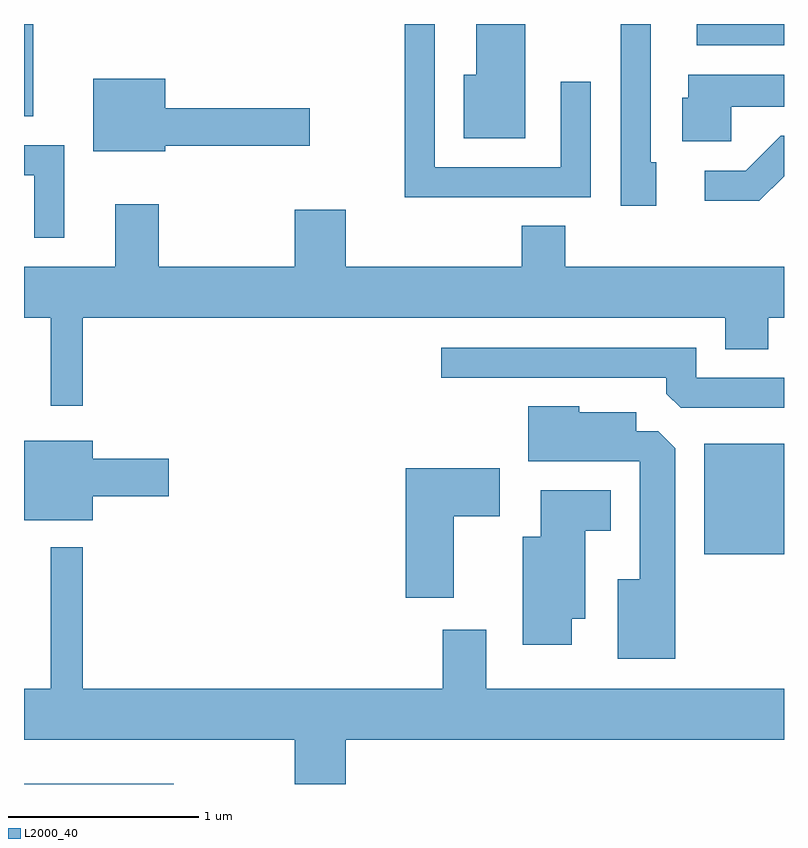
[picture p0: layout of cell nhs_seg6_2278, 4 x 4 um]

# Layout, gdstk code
import gdstk
lib = gdstk.Library(unit=1e-6, precision=1e-09)
def R(c, l, rs):  # rectangles x0, y0, x1, y1
    for r in rs: c.add(gdstk.rectangle(r[:2], r[2:], *l))
def P(c, l, *ps):  # polygons
    for p in ps: c.add(gdstk.Polygon(p, *l))
L2000_40 = (2000, 40)

nhs_seg6_2278 = lib.new_cell('nhs_seg6_2278')
R(nhs_seg6_2278, L2000_40, [(253.611,1634.162,254.398,1634.164), (257.191,1635.371,257.611,1635.954), (253.611,1637.676,253.659,1638.162), (257.153,1638.051,257.611,1638.162)])
P(nhs_seg6_2278, L2000_40, [(256.594,1637.858),(256.436,1637.858),(256.436,1637.409),(255.774,1637.409),(255.774,1638.162),(255.616,1638.162),(255.616,1637.251),(256.594,1637.251)],
  [(256.939,1637.434),(256.909,1637.434),(256.909,1638.162),(256.751,1638.162),(256.751,1637.206),(256.939,1637.206)],
  [(256.249,1638.162),(255.991,1638.162),(255.991,1637.894),(255.926,1637.894),(255.926,1637.561),(256.249,1637.561)],
  [(257.334,1637.726),(257.611,1637.726),(257.611,1637.894),(257.106,1637.894),(257.106,1637.774),(257.076,1637.774),(257.076,1637.546),(257.334,1637.546)],
  [(254.354,1637.521),(255.114,1637.521),(255.114,1637.719),(254.354,1637.719),(254.354,1637.874),(253.976,1637.874),(253.976,1637.491),(254.354,1637.491)],
  [(257.611,1637.361),(257.611,1637.574),(257.594,1637.574),(257.409,1637.389),(257.193,1637.389),(257.193,1637.231),(257.481,1637.231)],
  [(253.824,1637.524),(253.611,1637.524),(253.611,1637.366),(253.666,1637.366),(253.666,1637.038),(253.824,1637.038)],
  [(253.919,1636.616),(257.301,1636.616),(257.301,1636.451),(257.529,1636.451),(257.529,1636.616),(257.611,1636.616),(257.611,1636.884),(256.459,1636.884),(256.459,1637.099),(256.231,1637.099),(256.231,1636.884),(255.304,1636.884),(255.304,1637.184),(255.036,1637.184),(255.036,1636.884),(254.319,1636.884),(254.319,1637.214),(254.091,1637.214),(254.091,1636.884),(253.611,1636.884),(253.611,1636.616),(253.751,1636.616),(253.751,1636.153),(253.919,1636.153)],
  [(257.611,1636.299),(257.149,1636.299),(257.149,1636.459),(255.808,1636.459),(255.808,1636.301),(256.991,1636.301),(256.991,1636.217),(257.067,1636.141),(257.611,1636.141)],
  [(257.039,1635.929),(256.949,1636.019),(256.834,1636.019),(256.834,1636.119),(256.534,1636.119),(256.534,1636.149),(256.266,1636.149),(256.266,1635.861),(256.851,1635.861),(256.851,1635.239),(256.736,1635.239),(256.736,1634.821),(257.039,1634.821)],
  [(253.974,1635.676),(254.374,1635.676),(254.374,1635.874),(253.974,1635.874),(253.974,1635.969),(253.611,1635.969),(253.611,1635.551),(253.974,1635.551)],
  [(255.874,1635.571),(256.114,1635.571),(256.114,1635.824),(255.621,1635.824),(255.621,1635.141),(255.874,1635.141)],
  [(256.494,1635.031),(256.564,1635.031),(256.564,1635.496),(256.699,1635.496),(256.699,1635.709),(256.331,1635.709),(256.331,1635.464),(256.236,1635.464),(256.236,1634.896),(256.494,1634.896)],
  [(255.304,1634.396),(257.611,1634.396),(257.611,1634.664),(256.044,1634.664),(256.044,1634.974),(255.816,1634.974),(255.816,1634.664),(253.919,1634.664),(253.919,1635.408),(253.751,1635.408),(253.751,1634.664),(253.611,1634.664),(253.611,1634.396),(255.036,1634.396),(255.036,1634.162),(255.304,1634.162)])

lib.write_gds('nhs_seg6_2278.gds')
